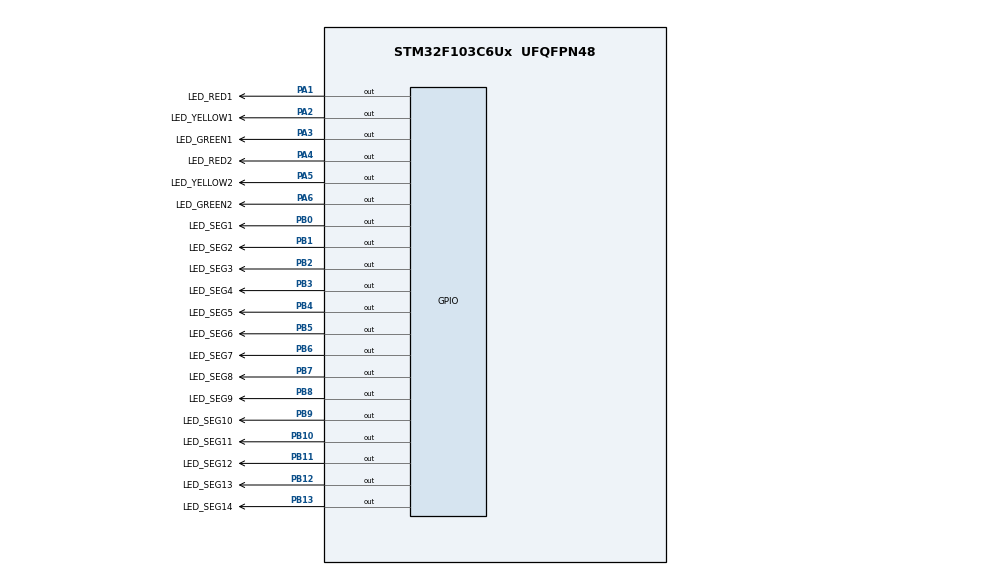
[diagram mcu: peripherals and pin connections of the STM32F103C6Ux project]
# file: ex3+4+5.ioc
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Mcu.Family=STM32F1
Mcu.Name=STM32F103C6Ux
Mcu.Package=UFQFPN48
NVIC.PriorityGroup=NVIC_PRIORITYGROUP_4
PA1.GPIO_Label=LED_RED1
PA1.Signal=GPIO_Output
PA2.GPIO_Label=LED_YELLOW1
PA2.Signal=GPIO_Output
PA3.GPIO_Label=LED_GREEN1
PA3.Signal=GPIO_Output
PA4.GPIO_Label=LED_RED2
PA4.Signal=GPIO_Output
PA5.GPIO_Label=LED_YELLOW2
PA5.Signal=GPIO_Output
PA6.GPIO_Label=LED_GREEN2
PA6.Signal=GPIO_Output
PB0.GPIO_Label=LED_SEG1
PB0.PinState=GPIO_PIN_RESET
PB0.Signal=GPIO_Output
PB1.GPIO_Label=LED_SEG2
PB1.PinState=GPIO_PIN_RESET
PB1.Signal=GPIO_Output
PB10.GPIO_Label=LED_SEG11
PB10.Signal=GPIO_Output
PB11.GPIO_Label=LED_SEG12
PB11.Signal=GPIO_Output
PB12.GPIO_Label=LED_SEG13
PB12.Signal=GPIO_Output
PB13.GPIO_Label=LED_SEG14
PB13.Signal=GPIO_Output
PB2.GPIO_Label=LED_SEG3
PB2.PinState=GPIO_PIN_RESET
PB2.Signal=GPIO_Output
PB3.GPIO_Label=LED_SEG4
PB3.PinState=GPIO_PIN_RESET
PB3.Signal=GPIO_Output
PB4.GPIO_Label=LED_SEG5
PB4.PinState=GPIO_PIN_RESET
PB4.Signal=GPIO_Output
PB5.GPIO_Label=LED_SEG6
PB5.PinState=GPIO_PIN_RESET
PB5.Signal=GPIO_Output
PB6.GPIO_Label=LED_SEG7
PB6.PinState=GPIO_PIN_RESET
PB6.Signal=GPIO_Output
PB7.GPIO_Label=LED_SEG8
PB7.Signal=GPIO_Output
PB8.GPIO_Label=LED_SEG9
PB8.Signal=GPIO_Output
PB9.GPIO_Label=LED_SEG10
PB9.Signal=GPIO_Output
ProjectManager.HeapSize=0x200
ProjectManager.StackSize=0x400
ProjectManager.TargetToolchain=STM32CubeIDE
RCC.APB1Freq_Value=8000000
RCC.APB2Freq_Value=8000000
VP_SYS_VS_ND.Mode=No_Debug
board=custom

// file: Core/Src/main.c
/* USER CODE BEGIN Header */
/**
  ****************************************************************************
  * @file           : main.c
  * @brief          : Main program body
  ****************************************************************************
  * @attention
  *
  * <h2><center>&copy; Copyright (c) 2022 STMicroelectronics.
  * All rights reserved.</center></h2>
  *
  * This software component is licensed by ST under BSD 3-Clause license,
  * the "License"; You may not use this file except in compliance with the
  * License. You may obtain a copy of the License at:
  *                        opensource.org/licenses/BSD-3-Clause
  *
  ****************************************************************************
  */
/* USER CODE END Header */
#include "main.h"

/* USER CODE BEGIN PV */
int counter = 0; // ex 4+5
//int counter0 = 10;//ex 3
int counter0 = 0; //ex 4+5
int counter1=0; // ex 4+5
int counter2=0; //ex 4+5
/* USER CODE END PV */

void SystemClock_Config(void);
static void MX_GPIO_Init(void);

/* USER CODE BEGIN 0 */
void display7SEG(int num){ //ex4
	if(num==0){
		HAL_GPIO_WritePin(LED_SEG1_GPIO_Port, LED_SEG1_Pin, 0);
		HAL_GPIO_WritePin(LED_SEG2_GPIO_Port, LED_SEG2_Pin, 0);
		HAL_GPIO_WritePin(LED_SEG3_GPIO_Port, LED_SEG3_Pin, 0);
		HAL_GPIO_WritePin(LED_SEG4_GPIO_Port, LED_SEG4_Pin, 0);
		HAL_GPIO_WritePin(LED_SEG5_GPIO_Port, LED_SEG5_Pin, 0);
		HAL_GPIO_WritePin(LED_SEG6_GPIO_Port, LED_SEG6_Pin, 0);
		HAL_GPIO_WritePin(LED_SEG7_GPIO_Port, LED_SEG7_Pin, 1);
	}
	if(num==1){
		HAL_GPIO_WritePin(LED_SEG1_GPIO_Port, LED_SEG1_Pin, 1);
		HAL_GPIO_WritePin(LED_SEG2_GPIO_Port, LED_SEG2_Pin, 0);
		HAL_GPIO_WritePin(LED_SEG3_GPIO_Port, LED_SEG3_Pin, 0);
		HAL_GPIO_WritePin(LED_SEG4_GPIO_Port, LED_SEG4_Pin, 1);
		HAL_GPIO_WritePin(LED_SEG5_GPIO_Port, LED_SEG5_Pin, 1);
		HAL_GPIO_WritePin(LED_SEG6_GPIO_Port, LED_SEG6_Pin, 1);
		HAL_GPIO_WritePin(LED_SEG7_GPIO_Port, LED_SEG7_Pin, 1);
	}
	if(num==2){
		HAL_GPIO_WritePin(LED_SEG1_GPIO_Port, LED_SEG1_Pin, 0);
		HAL_GPIO_WritePin(LED_SEG2_GPIO_Port, LED_SEG2_Pin, 0);
		HAL_GPIO_WritePin(LED_SEG3_GPIO_Port, LED_SEG3_Pin, 1);
		HAL_GPIO_WritePin(LED_SEG4_GPIO_Port, LED_SEG4_Pin, 0);
		HAL_GPIO_WritePin(LED_SEG5_GPIO_Port, LED_SEG5_Pin, 0);
		HAL_GPIO_WritePin(LED_SEG6_GPIO_Port, LED_SEG6_Pin, 1);
		HAL_GPIO_WritePin(LED_SEG7_GPIO_Port, LED_SEG7_Pin, 0);
	}
	if(num==3){
		HAL_GPIO_WritePin(LED_SEG1_GPIO_Port, LED_SEG1_Pin, 0);
		HAL_GPIO_WritePin(LED_SEG2_GPIO_Port, LED_SEG2_Pin, 0);
		HAL_GPIO_WritePin(LED_SEG3_GPIO_Port, LED_SEG3_Pin, 0);
		HAL_GPIO_WritePin(LED_SEG4_GPIO_Port, LED_SEG4_Pin, 0);
		HAL_GPIO_WritePin(LED_SEG5_GPIO_Port, LED_SEG5_Pin, 1);
		HAL_GPIO_WritePin(LED_SEG6_GPIO_Port, LED_SEG6_Pin, 1);
		HAL_GPIO_WritePin(LED_SEG7_GPIO_Port, LED_SEG7_Pin, 0);
	}
	if(num==4){
		HAL_GPIO_WritePin(LED_SEG1_GPIO_Port, LED_SEG1_Pin, 1);
		HAL_GPIO_WritePin(LED_SEG2_GPIO_Port, LED_SEG2_Pin, 0);
		HAL_GPIO_WritePin(LED_SEG3_GPIO_Port, LED_SEG3_Pin, 0);
		HAL_GPIO_WritePin(LED_SEG4_GPIO_Port, LED_SEG4_Pin, 1);
		HAL_GPIO_WritePin(LED_SEG5_GPIO_Port, LED_SEG5_Pin, 1);
		HAL_GPIO_WritePin(LED_SEG6_GPIO_Port, LED_SEG6_Pin, 0);
		HAL_GPIO_WritePin(LED_SEG7_GPIO_Port, LED_SEG7_Pin, 0);
	}
	if(num==5){
		HAL_GPIO_WritePin(LED_SEG1_GPIO_Port, LED_SEG1_Pin, 0);
		HAL_GPIO_WritePin(LED_SEG2_GPIO_Port, LED_SEG2_Pin, 1);
		HAL_GPIO_WritePin(LED_SEG3_GPIO_Port, LED_SEG3_Pin, 0);
		HAL_GPIO_WritePin(LED_SEG4_GPIO_Port, LED_SEG4_Pin, 0);
		HAL_GPIO_WritePin(LED_SEG5_GPIO_Port, LED_SEG5_Pin, 1);
		HAL_GPIO_WritePin(LED_SEG6_GPIO_Port, LED_SEG6_Pin, 0);
		HAL_GPIO_WritePin(LED_SEG7_GPIO_Port, LED_SEG7_Pin, 0);
	}
	if(num==6){
		HAL_GPIO_WritePin(LED_SEG1_GPIO_Port, LED_SEG1_Pin, 0);
		HAL_GPIO_WritePin(LED_SEG2_GPIO_Port, LED_SEG2_Pin, 1);
		HAL_GPIO_WritePin(LED_SEG3_GPIO_Port, LED_SEG3_Pin, 0);
		HAL_GPIO_WritePin(LED_SEG4_GPIO_Port, LED_SEG4_Pin, 0);
		HAL_GPIO_WritePin(LED_SEG5_GPIO_Port, LED_SEG5_Pin, 0);
		HAL_GPIO_WritePin(LED_SEG6_GPIO_Port, LED_SEG6_Pin, 0);
		HAL_GPIO_WritePin(LED_SEG7_GPIO_Port, LED_SEG7_Pin, 0);
	}
	if(num==7){
		HAL_GPIO_WritePin(LED_SEG1_GPIO_Port, LED_SEG1_Pin, 0);
		HAL_GPIO_WritePin(LED_SEG2_GPIO_Port, LED_SEG2_Pin, 0);
		HAL_GPIO_WritePin(LED_SEG3_GPIO_Port, LED_SEG3_Pin, 0);
		HAL_GPIO_WritePin(LED_SEG4_GPIO_Port, LED_SEG4_Pin, 1);
		HAL_GPIO_WritePin(LED_SEG5_GPIO_Port, LED_SEG5_Pin, 1);
		HAL_GPIO_WritePin(LED_SEG6_GPIO_Port, LED_SEG6_Pin, 1);
		HAL_GPIO_WritePin(LED_SEG7_GPIO_Port, LED_SEG7_Pin, 1);
	}
	if(num==8){
		HAL_GPIO_WritePin(LED_SEG1_GPIO_Port, LED_SEG1_Pin, 0);
		HAL_GPIO_WritePin(LED_SEG2_GPIO_Port, LED_SEG2_Pin, 0);
		HAL_GPIO_WritePin(LED_SEG3_GPIO_Port, LED_SEG3_Pin, 0);
		HAL_GPIO_WritePin(LED_SEG4_GPIO_Port, LED_SEG4_Pin, 0);
		HAL_GPIO_WritePin(LED_SEG5_GPIO_Port, LED_SEG5_Pin, 0);
		HAL_GPIO_WritePin(LED_SEG6_GPIO_Port, LED_SEG6_Pin, 0);
		HAL_GPIO_WritePin(LED_SEG7_GPIO_Port, LED_SEG7_Pin, 0);
	}
	if(num==9){
		HAL_GPIO_WritePin(LED_SEG1_GPIO_Port, LED_SEG1_Pin, 0);
		HAL_GPIO_WritePin(LED_SEG2_GPIO_Port, LED_SEG2_Pin, 0);
		HAL_GPIO_WritePin(LED_SEG3_GPIO_Port, LED_SEG3_Pin, 0);
		HAL_GPIO_WritePin(LED_SEG4_GPIO_Port, LED_SEG4_Pin, 0);
		HAL_GPIO_WritePin(LED_SEG5_GPIO_Port, LED_SEG5_Pin, 1);
		HAL_GPIO_WritePin(LED_SEG6_GPIO_Port, LED_SEG6_Pin, 0);
		HAL_GPIO_WritePin(LED_SEG7_GPIO_Port, LED_SEG7_Pin, 0);
	}
}
void display7SEG1_5(int num){    // ex5
		if(num==5){
			HAL_GPIO_WritePin(LED_SEG1_GPIO_Port, LED_SEG1_Pin, 0);
			HAL_GPIO_WritePin(LED_SEG2_GPIO_Port, LED_SEG2_Pin, 0);
			HAL_GPIO_WritePin(LED_SEG3_GPIO_Port, LED_SEG3_Pin, 0);
			HAL_GPIO_WritePin(LED_SEG4_GPIO_Port, LED_SEG4_Pin, 0);
			HAL_GPIO_WritePin(LED_SEG5_GPIO_Port, LED_SEG5_Pin, 0);
			HAL_GPIO_WritePin(LED_SEG6_GPIO_Port, LED_SEG6_Pin, 0);
			HAL_GPIO_WritePin(LED_SEG7_GPIO_Port, LED_SEG7_Pin, 1);
		}
		if(num==4){
			HAL_GPIO_WritePin(LED_SEG1_GPIO_Port, LED_SEG1_Pin, 1);
			HAL_GPIO_WritePin(LED_SEG2_GPIO_Port, LED_SEG2_Pin, 0);
			HAL_GPIO_WritePin(LED_SEG3_GPIO_Port, LED_SEG3_Pin, 0);
			HAL_GPIO_WritePin(LED_SEG4_GPIO_Port, LED_SEG4_Pin, 1);
			HAL_GPIO_WritePin(LED_SEG5_GPIO_Port, LED_SEG5_Pin, 1);
			HAL_GPIO_WritePin(LED_SEG6_GPIO_Port, LED_SEG6_Pin, 1);
			HAL_GPIO_WritePin(LED_SEG7_GPIO_Port, LED_SEG7_Pin, 1);
		}
		if(num==3){
			HAL_GPIO_WritePin(LED_SEG1_GPIO_Port, LED_SEG1_Pin, 0);
			HAL_GPIO_WritePin(LED_SEG2_GPIO_Port, LED_SEG2_Pin, 0);
			HAL_GPIO_WritePin(LED_SEG3_GPIO_Port, LED_SEG3_Pin, 1);
			HAL_GPIO_WritePin(LED_SEG4_GPIO_Port, LED_SEG4_Pin, 0);
			HAL_GPIO_WritePin(LED_SEG5_GPIO_Port, LED_SEG5_Pin, 0);
			HAL_GPIO_WritePin(LED_SEG6_GPIO_Port, LED_SEG6_Pin, 1);
			HAL_GPIO_WritePin(LED_SEG7_GPIO_Port, LED_SEG7_Pin, 0);
		}
		if(num==2){
			HAL_GPIO_WritePin(LED_SEG1_GPIO_Port, LED_SEG1_Pin, 0);
			HAL_GPIO_WritePin(LED_SEG2_GPIO_Port, LED_SEG2_Pin, 0);
			HAL_GPIO_WritePin(LED_SEG3_GPIO_Port, LED_SEG3_Pin, 0);
			HAL_GPIO_WritePin(LED_SEG4_GPIO_Port, LED_SEG4_Pin, 0);
			HAL_GPIO_WritePin(LED_SEG5_GPIO_Port, LED_SEG5_Pin, 1);
			HAL_GPIO_WritePin(LED_SEG6_GPIO_Port, LED_SEG6_Pin, 1);
			HAL_GPIO_WritePin(LED_SEG7_GPIO_Port, LED_SEG7_Pin, 0);
		}
		if(num==1){
			HAL_GPIO_WritePin(LED_SEG1_GPIO_Port, LED_SEG1_Pin, 1);
			HAL_GPIO_WritePin(LED_SEG2_GPIO_Port, LED_SEG2_Pin, 0);
			HAL_GPIO_WritePin(LED_SEG3_GPIO_Port, LED_SEG3_Pin, 0);
			HAL_GPIO_WritePin(LED_SEG4_GPIO_Port, LED_SEG4_Pin, 1);
			HAL_GPIO_WritePin(LED_SEG5_GPIO_Port, LED_SEG5_Pin, 1);
			HAL_GPIO_WritePin(LED_SEG6_GPIO_Port, LED_SEG6_Pin, 0);
			HAL_GPIO_WritePin(LED_SEG7_GPIO_Port, LED_SEG7_Pin, 0);
		}
		if(num==0){
			HAL_GPIO_WritePin(LED_SEG1_GPIO_Port, LED_SEG1_Pin, 0);
			HAL_GPIO_WritePin(LED_SEG2_GPIO_Port, LED_SEG2_Pin, 1);
			HAL_GPIO_WritePin(LED_SEG3_GPIO_Port, LED_SEG3_Pin, 0);
			HAL_GPIO_WritePin(LED_SEG4_GPIO_Port, LED_SEG4_Pin, 0);
			HAL_GPIO_WritePin(LED_SEG5_GPIO_Port, LED_SEG5_Pin, 1);
			HAL_GPIO_WritePin(LED_SEG6_GPIO_Port, LED_SEG6_Pin, 0);
			HAL_GPIO_WritePin(LED_SEG7_GPIO_Port, LED_SEG7_Pin, 0);
		}
}
void display7SEG1_3(int num){  // ex 5
			if(num==3){
				HAL_GPIO_WritePin(LED_SEG1_GPIO_Port, LED_SEG1_Pin, 0);
				HAL_GPIO_WritePin(LED_SEG2_GPIO_Port, LED_SEG2_Pin, 0);
				HAL_GPIO_WritePin(LED_SEG3_GPIO_Port, LED_SEG3_Pin, 0);
				HAL_GPIO_WritePin(LED_SEG4_GPIO_Port, LED_SEG4_Pin, 0);
				HAL_GPIO_WritePin(LED_SEG5_GPIO_Port, LED_SEG5_Pin, 0);
				HAL_GPIO_WritePin(LED_SEG6_GPIO_Port, LED_SEG6_Pin, 0);
				HAL_GPIO_WritePin(LED_SEG7_GPIO_Port, LED_SEG7_Pin, 1);
			}
			if(num==2){
				HAL_GPIO_WritePin(LED_SEG1_GPIO_Port, LED_SEG1_Pin, 1);
				HAL_GPIO_WritePin(LED_SEG2_GPIO_Port, LED_SEG2_Pin, 0);
				HAL_GPIO_WritePin(LED_SEG3_GPIO_Port, LED_SEG3_Pin, 0);
				HAL_GPIO_WritePin(LED_SEG4_GPIO_Port, LED_SEG4_Pin, 1);
				HAL_GPIO_WritePin(LED_SEG5_GPIO_Port, LED_SEG5_Pin, 1);
				HAL_GPIO_WritePin(LED_SEG6_GPIO_Port, LED_SEG6_Pin, 1);
				HAL_GPIO_WritePin(LED_SEG7_GPIO_Port, LED_SEG7_Pin, 1);
			}
			if(num==1){
				HAL_GPIO_WritePin(LED_SEG1_GPIO_Port, LED_SEG1_Pin, 0);
				HAL_GPIO_WritePin(LED_SEG2_GPIO_Port, LED_SEG2_Pin, 0);
				HAL_GPIO_WritePin(LED_SEG3_GPIO_Port, LED_SEG3_Pin, 1);
				HAL_GPIO_WritePin(LED_SEG4_GPIO_Port, LED_SEG4_Pin, 0);
				HAL_GPIO_WritePin(LED_SEG5_GPIO_Port, LED_SEG5_Pin, 0);
				HAL_GPIO_WritePin(LED_SEG6_GPIO_Port, LED_SEG6_Pin, 1);
				HAL_GPIO_WritePin(LED_SEG7_GPIO_Port, LED_SEG7_Pin, 0);
			}
			if(num==0){
				HAL_GPIO_WritePin(LED_SEG1_GPIO_Port, LED_SEG1_Pin, 0);
				HAL_GPIO_WritePin(LED_SEG2_GPIO_Port, LED_SEG2_Pin, 0);
				HAL_GPIO_WritePin(LED_SEG3_GPIO_Port, LED_SEG3_Pin, 0);
				HAL_GPIO_WritePin(LED_SEG4_GPIO_Port, LED_SEG4_Pin, 0);
				HAL_GPIO_WritePin(LED_SEG5_GPIO_Port, LED_SEG5_Pin, 1);
				HAL_GPIO_WritePin(LED_SEG6_GPIO_Port, LED_SEG6_Pin, 1);
				HAL_GPIO_WritePin(LED_SEG7_GPIO_Port, LED_SEG7_Pin, 0);
			}
}
void display7SEG1_2(int num){  // ex 5
			if(num==2){
				HAL_GPIO_WritePin(LED_SEG1_GPIO_Port, LED_SEG1_Pin, 0);
				HAL_GPIO_WritePin(LED_SEG2_GPIO_Port, LED_SEG2_Pin, 0);
				HAL_GPIO_WritePin(LED_SEG3_GPIO_Port, LED_SEG3_Pin, 0);
				HAL_GPIO_WritePin(LED_SEG4_GPIO_Port, LED_SEG4_Pin, 0);
				HAL_GPIO_WritePin(LED_SEG5_GPIO_Port, LED_SEG5_Pin, 0);
				HAL_GPIO_WritePin(LED_SEG6_GPIO_Port, LED_SEG6_Pin, 0);
				HAL_GPIO_WritePin(LED_SEG7_GPIO_Port, LED_SEG7_Pin, 1);
			}
			if(num==1){
				HAL_GPIO_WritePin(LED_SEG1_GPIO_Port, LED_SEG1_Pin, 1);
				HAL_GPIO_WritePin(LED_SEG2_GPIO_Port, LED_SEG2_Pin, 0);
				HAL_GPIO_WritePin(LED_SEG3_GPIO_Port, LED_SEG3_Pin, 0);
				HAL_GPIO_WritePin(LED_SEG4_GPIO_Port, LED_SEG4_Pin, 1);
				HAL_GPIO_WritePin(LED_SEG5_GPIO_Port, LED_SEG5_Pin, 1);
				HAL_GPIO_WritePin(LED_SEG6_GPIO_Port, LED_SEG6_Pin, 1);
				HAL_GPIO_WritePin(LED_SEG7_GPIO_Port, LED_SEG7_Pin, 1);
			}
			if(num==0){
				HAL_GPIO_WritePin(LED_SEG1_GPIO_Port, LED_SEG1_Pin, 0);
				HAL_GPIO_WritePin(LED_SEG2_GPIO_Port, LED_SEG2_Pin, 0);
				HAL_GPIO_WritePin(LED_SEG3_GPIO_Port, LED_SEG3_Pin, 1);
				HAL_GPIO_WritePin(LED_SEG4_GPIO_Port, LED_SEG4_Pin, 0);
				HAL_GPIO_WritePin(LED_SEG5_GPIO_Port, LED_SEG5_Pin, 0);
				HAL_GPIO_WritePin(LED_SEG6_GPIO_Port, LED_SEG6_Pin, 1);
				HAL_GPIO_WritePin(LED_SEG7_GPIO_Port, LED_SEG7_Pin, 0);
			}
}
void display7SEG2_5(int num){    // ex5
		if(num==5){
			HAL_GPIO_WritePin(LED_SEG8_GPIO_Port, LED_SEG8_Pin, 0);
			HAL_GPIO_WritePin(LED_SEG9_GPIO_Port, LED_SEG9_Pin, 0);
			HAL_GPIO_WritePin(LED_SEG10_GPIO_Port, LED_SEG10_Pin, 0);
			HAL_GPIO_WritePin(LED_SEG11_GPIO_Port, LED_SEG11_Pin, 0);
			HAL_GPIO_WritePin(LED_SEG12_GPIO_Port, LED_SEG12_Pin, 0);
			HAL_GPIO_WritePin(LED_SEG13_GPIO_Port, LED_SEG13_Pin, 0);
			HAL_GPIO_WritePin(LED_SEG14_GPIO_Port, LED_SEG14_Pin, 1);
		}
		if(num==4){
			HAL_GPIO_WritePin(LED_SEG8_GPIO_Port, LED_SEG8_Pin, 1);
			HAL_GPIO_WritePin(LED_SEG9_GPIO_Port, LED_SEG9_Pin, 0);
			HAL_GPIO_WritePin(LED_SEG10_GPIO_Port, LED_SEG10_Pin, 0);
			HAL_GPIO_WritePin(LED_SEG11_GPIO_Port, LED_SEG11_Pin, 1);
			HAL_GPIO_WritePin(LED_SEG12_GPIO_Port, LED_SEG12_Pin, 1);
			HAL_GPIO_WritePin(LED_SEG13_GPIO_Port, LED_SEG13_Pin, 1);
			HAL_GPIO_WritePin(LED_SEG14_GPIO_Port, LED_SEG14_Pin, 1);
		}
		if(num==3){
			HAL_GPIO_WritePin(LED_SEG8_GPIO_Port, LED_SEG8_Pin, 0);
			HAL_GPIO_WritePin(LED_SEG9_GPIO_Port, LED_SEG9_Pin, 0);
			HAL_GPIO_WritePin(LED_SEG10_GPIO_Port, LED_SEG10_Pin, 1);
			HAL_GPIO_WritePin(LED_SEG11_GPIO_Port, LED_SEG11_Pin, 0);
			HAL_GPIO_WritePin(LED_SEG12_GPIO_Port, LED_SEG12_Pin, 0);
			HAL_GPIO_WritePin(LED_SEG13_GPIO_Port, LED_SEG13_Pin, 1);
			HAL_GPIO_WritePin(LED_SEG14_GPIO_Port, LED_SEG14_Pin, 0);
		}
		if(num==2){
			HAL_GPIO_WritePin(LED_SEG8_GPIO_Port, LED_SEG8_Pin, 0);
			HAL_GPIO_WritePin(LED_SEG9_GPIO_Port, LED_SEG9_Pin, 0);
			HAL_GPIO_WritePin(LED_SEG10_GPIO_Port, LED_SEG10_Pin, 0);
			HAL_GPIO_WritePin(LED_SEG11_GPIO_Port, LED_SEG11_Pin, 0);
			HAL_GPIO_WritePin(LED_SEG12_GPIO_Port, LED_SEG12_Pin, 1);
			HAL_GPIO_WritePin(LED_SEG13_GPIO_Port, LED_SEG13_Pin, 1);
			HAL_GPIO_WritePin(LED_SEG14_GPIO_Port, LED_SEG14_Pin, 0);
		}
		if(num==1){
			HAL_GPIO_WritePin(LED_SEG8_GPIO_Port, LED_SEG8_Pin, 1);
			HAL_GPIO_WritePin(LED_SEG9_GPIO_Port, LED_SEG9_Pin, 0);
			HAL_GPIO_WritePin(LED_SEG10_GPIO_Port, LED_SEG10_Pin, 0);
			HAL_GPIO_WritePin(LED_SEG11_GPIO_Port, LED_SEG11_Pin, 1);
			HAL_GPIO_WritePin(LED_SEG12_GPIO_Port, LED_SEG12_Pin, 1);
			HAL_GPIO_WritePin(LED_SEG13_GPIO_Port, LED_SEG13_Pin, 0);
			HAL_GPIO_WritePin(LED_SEG14_GPIO_Port, LED_SEG14_Pin, 0);
		}
		if(num==0){
			HAL_GPIO_WritePin(LED_SEG8_GPIO_Port, LED_SEG8_Pin, 0);
			HAL_GPIO_WritePin(LED_SEG9_GPIO_Port, LED_SEG9_Pin, 1);
			HAL_GPIO_WritePin(LED_SEG10_GPIO_Port, LED_SEG10_Pin, 0);
			HAL_GPIO_WritePin(LED_SEG11_GPIO_Port, LED_SEG11_Pin, 0);
			HAL_GPIO_WritePin(LED_SEG12_GPIO_Port, LED_SEG12_Pin, 1);
			HAL_GPIO_WritePin(LED_SEG13_GPIO_Port, LED_SEG13_Pin, 0);
			HAL_GPIO_WritePin(LED_SEG14_GPIO_Port, LED_SEG14_Pin, 0);
		}
}
void display7SEG2_3(int num){  // ex 5
			if(num==3){
				HAL_GPIO_WritePin(LED_SEG8_GPIO_Port, LED_SEG8_Pin, 0);
				HAL_GPIO_WritePin(LED_SEG9_GPIO_Port, LED_SEG9_Pin, 0);
				HAL_GPIO_WritePin(LED_SEG10_GPIO_Port, LED_SEG10_Pin, 0);
				HAL_GPIO_WritePin(LED_SEG11_GPIO_Port, LED_SEG11_Pin, 0);
				HAL_GPIO_WritePin(LED_SEG12_GPIO_Port, LED_SEG12_Pin, 0);
				HAL_GPIO_WritePin(LED_SEG13_GPIO_Port, LED_SEG13_Pin, 0);
				HAL_GPIO_WritePin(LED_SEG14_GPIO_Port, LED_SEG14_Pin, 1);
			}
			if(num==2){
				HAL_GPIO_WritePin(LED_SEG8_GPIO_Port, LED_SEG8_Pin, 1);
				HAL_GPIO_WritePin(LED_SEG9_GPIO_Port, LED_SEG9_Pin, 0);
				HAL_GPIO_WritePin(LED_SEG10_GPIO_Port, LED_SEG10_Pin, 0);
				HAL_GPIO_WritePin(LED_SEG11_GPIO_Port, LED_SEG11_Pin, 1);
				HAL_GPIO_WritePin(LED_SEG12_GPIO_Port, LED_SEG12_Pin, 1);
				HAL_GPIO_WritePin(LED_SEG13_GPIO_Port, LED_SEG13_Pin, 1);
				HAL_GPIO_WritePin(LED_SEG14_GPIO_Port, LED_SEG14_Pin, 1);
			}
			if(num==1){
				HAL_GPIO_WritePin(LED_SEG8_GPIO_Port, LED_SEG8_Pin, 0);
				HAL_GPIO_WritePin(LED_SEG9_GPIO_Port, LED_SEG9_Pin, 0);
				HAL_GPIO_WritePin(LED_SEG10_GPIO_Port, LED_SEG10_Pin, 1);
				HAL_GPIO_WritePin(LED_SEG11_GPIO_Port, LED_SEG11_Pin, 0);
				HAL_GPIO_WritePin(LED_SEG12_GPIO_Port, LED_SEG12_Pin, 0);
				HAL_GPIO_WritePin(LED_SEG13_GPIO_Port, LED_SEG13_Pin, 1);
				HAL_GPIO_WritePin(LED_SEG14_GPIO_Port, LED_SEG14_Pin, 0);
			}
			if(num==0){
				HAL_GPIO_WritePin(LED_SEG8_GPIO_Port, LED_SEG8_Pin, 0);
				HAL_GPIO_WritePin(LED_SEG9_GPIO_Port, LED_SEG9_Pin, 0);
				HAL_GPIO_WritePin(LED_SEG10_GPIO_Port, LED_SEG10_Pin, 0);
				HAL_GPIO_WritePin(LED_SEG11_GPIO_Port, LED_SEG11_Pin, 0);
				HAL_GPIO_WritePin(LED_SEG12_GPIO_Port, LED_SEG12_Pin, 1);
				HAL_GPIO_WritePin(LED_SEG13_GPIO_Port, LED_SEG13_Pin, 1);
				HAL_GPIO_WritePin(LED_SEG14_GPIO_Port, LED_SEG14_Pin, 0);
			}
}
void display7SEG2_2(int num){  // ex 5
			if(num==2){
				HAL_GPIO_WritePin(LED_SEG8_GPIO_Port, LED_SEG8_Pin, 0);
				HAL_GPIO_WritePin(LED_SEG9_GPIO_Port, LED_SEG9_Pin, 0);
				HAL_GPIO_WritePin(LED_SEG10_GPIO_Port, LED_SEG10_Pin, 0);
				HAL_GPIO_WritePin(LED_SEG11_GPIO_Port, LED_SEG11_Pin, 0);
				HAL_GPIO_WritePin(LED_SEG12_GPIO_Port, LED_SEG12_Pin, 0);
				HAL_GPIO_WritePin(LED_SEG13_GPIO_Port, LED_SEG13_Pin, 0);
				HAL_GPIO_WritePin(LED_SEG14_GPIO_Port, LED_SEG14_Pin, 1);
			}
			if(num==1){
				HAL_GPIO_WritePin(LED_SEG8_GPIO_Port, LED_SEG8_Pin, 1);
				HAL_GPIO_WritePin(LED_SEG9_GPIO_Port, LED_SEG9_Pin, 0);
				HAL_GPIO_WritePin(LED_SEG10_GPIO_Port, LED_SEG10_Pin, 0);
				HAL_GPIO_WritePin(LED_SEG11_GPIO_Port, LED_SEG11_Pin, 1);
				HAL_GPIO_WritePin(LED_SEG12_GPIO_Port, LED_SEG12_Pin, 1);
				HAL_GPIO_WritePin(LED_SEG13_GPIO_Port, LED_SEG13_Pin, 1);
				HAL_GPIO_WritePin(LED_SEG14_GPIO_Port, LED_SEG14_Pin, 1);
			}
			if(num==0){
				HAL_GPIO_WritePin(LED_SEG8_GPIO_Port, LED_SEG8_Pin, 0);
				HAL_GPIO_WritePin(LED_SEG9_GPIO_Port, LED_SEG9_Pin, 0);
				HAL_GPIO_WritePin(LED_SEG10_GPIO_Port, LED_SEG10_Pin, 1);
				HAL_GPIO_WritePin(LED_SEG11_GPIO_Port, LED_SEG11_Pin, 0);
				HAL_GPIO_WritePin(LED_SEG12_GPIO_Port, LED_SEG12_Pin, 0);
				HAL_GPIO_WritePin(LED_SEG13_GPIO_Port, LED_SEG13_Pin, 1);
				HAL_GPIO_WritePin(LED_SEG14_GPIO_Port, LED_SEG14_Pin, 0);
			}
}
/* USER CODE END 0 */

int main(void)
{

  /* MCU Configuration--------------------------------------------------------*/

  /* Reset of all peripherals, Initializes the Flash interface and the Systick. */
  HAL_Init();

  /* Configure the system clock */
  SystemClock_Config();

  /* Initialize all configured peripherals */
  MX_GPIO_Init();

  /* Infinite loop */
  while (1)
  {
    /* USER CODE BEGIN 3 */
//	  if (counter0 < 5) { // ex 5
//	  		  HAL_GPIO_WritePin(LED_RED1_GPIO_Port, LED_RED1_Pin, GPIO_PIN_SET);
//	  		  HAL_GPIO_WritePin(LED_YELLOW1_GPIO_Port, LED_YELLOW1_Pin, GPIO_PIN_RESET);
//	  		  HAL_GPIO_WritePin(LED_GREEN1_GPIO_Port, LED_GREEN1_Pin, GPIO_PIN_RESET);
//	  		  if (counter0 <3) {
//	  			  HAL_GPIO_WritePin(LED_RED2_GPIO_Port, LED_RED2_Pin, GPIO_PIN_RESET);
//	  			  HAL_GPIO_WritePin(LED_YELLOW2_GPIO_Port, LED_YELLOW2_Pin, GPIO_PIN_RESET);
//	  			  HAL_GPIO_WritePin(LED_GREEN2_GPIO_Port, LED_GREEN2_Pin, GPIO_PIN_SET);
//	  			if(counter1==3) counter1=0;
//	  			display7SEG2_3(counter1++);
//	  		  } else {
//	  			  HAL_GPIO_WritePin(LED_RED2_GPIO_Port, LED_RED2_Pin, GPIO_PIN_RESET);
//	  			  HAL_GPIO_WritePin(LED_YELLOW2_GPIO_Port, LED_YELLOW2_Pin, GPIO_PIN_SET);
//	  			  HAL_GPIO_WritePin(LED_GREEN2_GPIO_Port, LED_GREEN2_Pin, GPIO_PIN_RESET);
//	  			if(counter2==2) counter2=0;
//	  			display7SEG2_2(counter2++);
//	  		  }
//	  		if(counter==5) counter=0;
//	  		display7SEG1_5(counter++);
//	  } else {
//	  		  HAL_GPIO_WritePin(LED_RED2_GPIO_Port, LED_RED2_Pin, GPIO_PIN_SET);
//	  		  HAL_GPIO_WritePin(LED_YELLOW2_GPIO_Port, LED_YELLOW2_Pin, GPIO_PIN_RESET);
//	  		  HAL_GPIO_WritePin(LED_GREEN2_GPIO_Port, LED_GREEN2_Pin, GPIO_PIN_RESET);
//	  		if(counter==5) counter=0;
//	  		display7SEG2_5(counter++);
//	  		  if (counter0 <8) {
//	  			  HAL_GPIO_WritePin(LED_RED1_GPIO_Port, LED_RED1_Pin, GPIO_PIN_RESET);
//	  			  HAL_GPIO_WritePin(LED_YELLOW1_GPIO_Port, LED_YELLOW1_Pin, GPIO_PIN_RESET);
//	  			  HAL_GPIO_WritePin(LED_GREEN1_GPIO_Port, LED_GREEN1_Pin, GPIO_PIN_SET);
//	  			if(counter1==3) counter1=0;
//	  			display7SEG1_3(counter1++);
//	  		  } else {
//	  			  HAL_GPIO_WritePin(LED_RED1_GPIO_Port, LED_RED1_Pin, GPIO_PIN_RESET);
//	  			  HAL_GPIO_WritePin(LED_YELLOW1_GPIO_Port, LED_YELLOW1_Pin, GPIO_PIN_SET);
//	  			  HAL_GPIO_WritePin(LED_GREEN1_GPIO_Port, LED_GREEN1_Pin, GPIO_PIN_RESET);
//	  			if(counter2==2) counter2=0;
//	  			display7SEG1_2(counter2++);
//	  		  }
//	  	  }
//	  	  counter0++;
//	  	  if (counter0 == 10) counter0 = 0;
//	  	  HAL_Delay(1000);

	  	if(counter >= 10) counter = 0;    // ex 4
	  	display7SEG(counter++);
	  	HAL_Delay(1000);

//	  if (counter0 >5) { // ex 3
//	  		  HAL_GPIO_WritePin(LED_RED1_GPIO_Port, LED_RED1_Pin, GPIO_PIN_SET);
//	  		  HAL_GPIO_WritePin(LED_YELLOW1_GPIO_Port, LED_YELLOW1_Pin, GPIO_PIN_RESET);
//	  		  HAL_GPIO_WritePin(LED_GREEN1_GPIO_Port, LED_GREEN1_Pin, GPIO_PIN_RESET);
//	  		  if (counter0 >7) {
//	  			  HAL_GPIO_WritePin(LED_RED2_GPIO_Port, LED_RED2_Pin, GPIO_PIN_RESET);
//	  			  HAL_GPIO_WritePin(LED_YELLOW2_GPIO_Port, LED_YELLOW2_Pin, GPIO_PIN_RESET);
//	  			  HAL_GPIO_WritePin(LED_GREEN2_GPIO_Port, LED_GREEN2_Pin, GPIO_PIN_SET);
//	  		  } else {
//	  			  HAL_GPIO_WritePin(LED_RED2_GPIO_Port, LED_RED2_Pin, GPIO_PIN_RESET);
//	  			  HAL_GPIO_WritePin(LED_YELLOW2_GPIO_Port, LED_YELLOW2_Pin, GPIO_PIN_SET);
//	  			  HAL_GPIO_WritePin(LED_GREEN2_GPIO_Port, LED_GREEN2_Pin, GPIO_PIN_RESET);
//	  		  }
//	  } else {
//	  		  HAL_GPIO_WritePin(LED_RED2_GPIO_Port, LED_RED2_Pin, GPIO_PIN_SET);
//	  		  HAL_GPIO_WritePin(LED_YELLOW2_GPIO_Port, LED_YELLOW2_Pin, GPIO_PIN_RESET);
//	  		  HAL_GPIO_WritePin(LED_GREEN2_GPIO_Port, LED_GREEN2_Pin, GPIO_PIN_RESET);
//	  		  if (counter0 >2) {
//	  			  HAL_GPIO_WritePin(LED_RED1_GPIO_Port, LED_RED1_Pin, GPIO_PIN_RESET);
//	  			  HAL_GPIO_WritePin(LED_YELLOW1_GPIO_Port, LED_YELLOW1_Pin, GPIO_PIN_RESET);
//	  			  HAL_GPIO_WritePin(LED_GREEN1_GPIO_Port, LED_GREEN1_Pin, GPIO_PIN_SET);
//	  		  } else {
//	  			  HAL_GPIO_WritePin(LED_RED1_GPIO_Port, LED_RED1_Pin, GPIO_PIN_RESET);
//	  			  HAL_GPIO_WritePin(LED_YELLOW1_GPIO_Port, LED_YELLOW1_Pin, GPIO_PIN_SET);
//	  			  HAL_GPIO_WritePin(LED_GREEN1_GPIO_Port, LED_GREEN1_Pin, GPIO_PIN_RESET);
//	  		  }
//	  	  }
//	  	  counter0--;
//	  	  if (counter0 == 0) counter0 = 10;
//	  	  HAL_Delay(1000);
  }
  /* USER CODE END 3 */
}
void SystemClock_Config(void)
{
  RCC_OscInitTypeDef RCC_OscInitStruct = {0};
  RCC_ClkInitTypeDef RCC_ClkInitStruct = {0};

  /** Initializes the RCC Oscillators according to the specified parameters
  * in the RCC_OscInitTypeDef structure.
  */
  RCC_OscInitStruct.OscillatorType = RCC_OSCILLATORTYPE_HSI;
  RCC_OscInitStruct.HSIState = RCC_HSI_ON;
  RCC_OscInitStruct.HSICalibrationValue = RCC_HSICALIBRATION_DEFAULT;
  RCC_OscInitStruct.PLL.PLLState = RCC_PLL_NONE;
  if (HAL_RCC_OscConfig(&RCC_OscInitStruct) != HAL_OK)
  {
    Error_Handler();
  }
  /** Initializes the CPU, AHB and APB buses clocks
  */
  RCC_ClkInitStruct.ClockType = RCC_CLOCKTYPE_HCLK|RCC_CLOCKTYPE_SYSCLK
                              |RCC_CLOCKTYPE_PCLK1|RCC_CLOCKTYPE_PCLK2;
  RCC_ClkInitStruct.SYSCLKSource = RCC_SYSCLKSOURCE_HSI;
  RCC_ClkInitStruct.AHBCLKDivider = RCC_SYSCLK_DIV1;
  RCC_ClkInitStruct.APB1CLKDivider = RCC_HCLK_DIV1;
  RCC_ClkInitStruct.APB2CLKDivider = RCC_HCLK_DIV1;

  if (HAL_RCC_ClockConfig(&RCC_ClkInitStruct, FLASH_LATENCY_0) != HAL_OK)
  {
    Error_Handler();
  }
}

static void MX_GPIO_Init(void)
{
  GPIO_InitTypeDef GPIO_InitStruct = {0};

  /* GPIO Ports Clock Enable */
  __HAL_RCC_GPIOA_CLK_ENABLE();
  __HAL_RCC_GPIOB_CLK_ENABLE();

  /*Configure GPIO pin Output Level */
  HAL_GPIO_WritePin(GPIOA, LED_RED1_Pin|LED_YELLOW1_Pin|LED_GREEN1_Pin|LED_RED2_Pin
                          |LED_YELLOW2_Pin|LED_GREEN2_Pin, GPIO_PIN_RESET);

  /*Configure GPIO pin Output Level */
  HAL_GPIO_WritePin(GPIOB, LED_SEG1_Pin|LED_SEG2_Pin|LED_SEG3_Pin|LED_SEG11_Pin
                          |LED_SEG12_Pin|LED_SEG13_Pin|LED_SEG14_Pin|LED_SEG4_Pin
                          |LED_SEG5_Pin|LED_SEG6_Pin|LED_SEG7_Pin|LED_SEG8_Pin
                          |LED_SEG9_Pin|LED_SEG10_Pin, GPIO_PIN_RESET);

  /*Configure GPIO pins : LED_RED1_Pin LED_YELLOW1_Pin LED_GREEN1_Pin LED_RED2_Pin
                           LED_YELLOW2_Pin LED_GREEN2_Pin */
  GPIO_InitStruct.Pin = LED_RED1_Pin|LED_YELLOW1_Pin|LED_GREEN1_Pin|LED_RED2_Pin
                          |LED_YELLOW2_Pin|LED_GREEN2_Pin;
  GPIO_InitStruct.Mode = GPIO_MODE_OUTPUT_PP;
  GPIO_InitStruct.Pull = GPIO_NOPULL;
  GPIO_InitStruct.Speed = GPIO_SPEED_FREQ_LOW;
  HAL_GPIO_Init(GPIOA, &GPIO_InitStruct);

  /*Configure GPIO pins : LED_SEG1_Pin LED_SEG2_Pin LED_SEG3_Pin LED_SEG11_Pin
                           LED_SEG12_Pin LED_SEG13_Pin LED_SEG14_Pin LED_SEG4_Pin
                           LED_SEG5_Pin LED_SEG6_Pin LED_SEG7_Pin LED_SEG8_Pin
                           LED_SEG9_Pin LED_SEG10_Pin */
  GPIO_InitStruct.Pin = LED_SEG1_Pin|LED_SEG2_Pin|LED_SEG3_Pin|LED_SEG11_Pin
                          |LED_SEG12_Pin|LED_SEG13_Pin|LED_SEG14_Pin|LED_SEG4_Pin
                          |LED_SEG5_Pin|LED_SEG6_Pin|LED_SEG7_Pin|LED_SEG8_Pin
                          |LED_SEG9_Pin|LED_SEG10_Pin;
  GPIO_InitStruct.Mode = GPIO_MODE_OUTPUT_PP;
  GPIO_InitStruct.Pull = GPIO_NOPULL;
  GPIO_InitStruct.Speed = GPIO_SPEED_FREQ_LOW;
  HAL_GPIO_Init(GPIOB, &GPIO_InitStruct);

}

void Error_Handler(void)
{
  __disable_irq();
  while (1)
  {
  }
}

/************************ (C) COPYRIGHT STMicroelectronics *****END OF FILE****/
